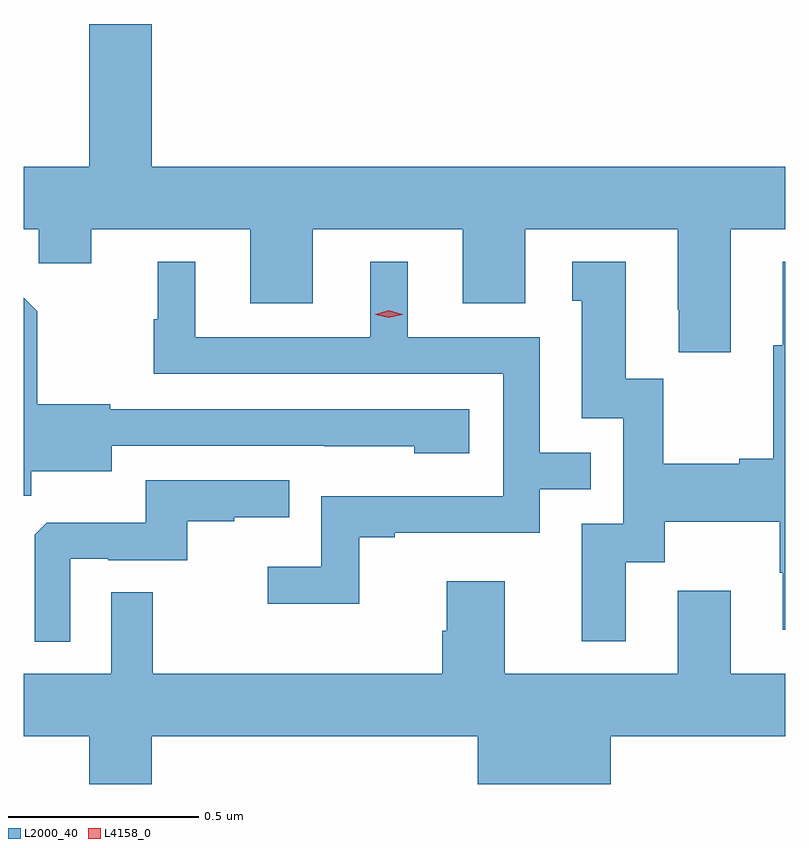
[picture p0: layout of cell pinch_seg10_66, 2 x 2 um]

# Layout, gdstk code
import gdstk
lib = gdstk.Library(unit=1e-6, precision=1e-09)
def P(c, l, *ps):  # polygons
    for p in ps: c.add(gdstk.Polygon(p, *l))
L2000_40 = (2000, 40)
L4158_0 = (4158, 0)

pinch_seg10_66 = lib.new_cell('pinch_seg10_66')
P(pinch_seg10_66, L2000_40, [(838.021,1302.98),(838.164,1302.98),(838.164,1303.144),(836.5,1303.144),(836.5,1303.519),(836.336,1303.519),(836.336,1303.144),(836.164,1303.144),(836.164,1302.98),(836.203,1302.98),(836.203,1302.89),(836.341,1302.89),(836.341,1302.98),(836.759,1302.98),(836.759,1302.786),(836.923,1302.786),(836.923,1302.98),(837.317,1302.98),(837.317,1302.786),(837.481,1302.786),(837.481,1302.98),(837.881,1302.98),(837.881,1302.769),(837.884,1302.769),(837.884,1302.657),(838.021,1302.657)],
  [(837.045,1302.171),(837.139,1302.171),(837.139,1302.183),(837.519,1302.183),(837.519,1302.297),(837.653,1302.297),(837.653,1302.393),(837.519,1302.393),(837.519,1302.696),(837.172,1302.696),(837.172,1302.895),(837.074,1302.895),(837.074,1302.696),(836.614,1302.696),(836.614,1302.895),(836.516,1302.895),(836.516,1302.744),(836.505,1302.744),(836.505,1302.6),(837.423,1302.6),(837.423,1302.279),(836.946,1302.279),(836.946,1302.094),(836.805,1302.094),(836.805,1301.996),(837.045,1301.996)],
  [(837.745,1302.106),(837.847,1302.106),(837.847,1302.212),(838.15,1302.212),(838.15,1302.078),(838.157,1302.078),(838.157,1301.928),(838.164,1301.928),(838.164,1302.895),(838.157,1302.895),(838.157,1302.675),(838.132,1302.675),(838.132,1302.377),(838.043,1302.377),(838.043,1302.364),(837.843,1302.364),(837.843,1302.587),(837.745,1302.587),(837.745,1302.895),(837.605,1302.895),(837.605,1302.792),(837.629,1302.792),(837.629,1302.483),(837.738,1302.483),(837.738,1302.207),(837.629,1302.207),(837.629,1301.898),(837.745,1301.898)],
  [(836.184,1302.344),(836.395,1302.344),(836.395,1302.411),(836.953,1302.411),(836.953,1302.41),(837.189,1302.41),(837.189,1302.392),(837.334,1302.392),(837.334,1302.507),(836.391,1302.507),(836.391,1302.52),(836.199,1302.52),(836.199,1302.765),(836.164,1302.8),(836.164,1302.28),(836.184,1302.28)],
  [(836.286,1302.114),(836.386,1302.114),(836.386,1302.111),(836.594,1302.111),(836.594,1302.213),(836.717,1302.213),(836.717,1302.224),(836.861,1302.224),(836.861,1302.321),(836.484,1302.321),(836.484,1302.209),(836.225,1302.209),(836.193,1302.177),(836.193,1301.897),(836.286,1301.897)],
  [(836.5,1301.648),(837.356,1301.648),(837.356,1301.523),(837.706,1301.523),(837.706,1301.648),(838.164,1301.648),(838.164,1301.812),(838.021,1301.812),(838.021,1302.031),(837.881,1302.031),(837.881,1301.812),(837.427,1301.812),(837.427,1302.055),(837.275,1302.055),(837.275,1301.925),(837.263,1301.925),(837.263,1301.812),(836.503,1301.812),(836.503,1302.026),(836.394,1302.026),(836.394,1301.812),(836.164,1301.812),(836.164,1301.648),(836.336,1301.648),(836.336,1301.523),(836.5,1301.523)])
P(pinch_seg10_66, L4158_0, [(837.123,1302.747),(837.088,1302.756),(837.087,1302.757),(837.088,1302.757),(837.123,1302.767),(837.158,1302.757),(837.159,1302.757),(837.158,1302.756)])

lib.write_gds('pinch_seg10_66.gds')
